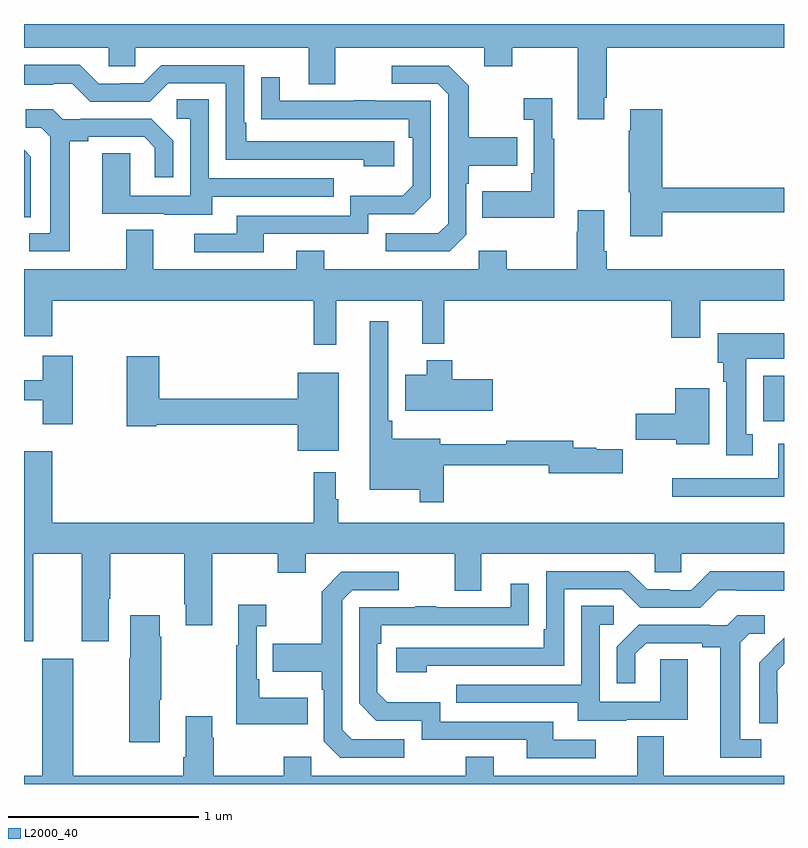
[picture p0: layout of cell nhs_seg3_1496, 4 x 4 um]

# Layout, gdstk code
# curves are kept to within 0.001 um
import gdstk
lib = gdstk.Library(unit=1e-6, precision=1e-09)
def R(c, l, rs):  # rectangles x0, y0, x1, y1
    for r in rs: c.add(gdstk.rectangle(r[:2], r[2:], *l))
def P(c, l, *ps):  # polygons
    for p in ps: c.add(gdstk.Polygon(p, *l))
L2000_40 = (2000, 40)

nhs_seg3_1496 = lib.new_cell('nhs_seg3_1496')
R(nhs_seg3_1496, L2000_40, [(192.89,672.308,193,672.55)])
P(nhs_seg3_1496, L2000_40, [(192.055,674.011),(192.068,674.011),(192.068,674.276),(193,674.276),(193,674.4),(189,674.4),(189,674.276),(189.447,674.276),(189.447,674.178),(189.585,674.178),(189.585,674.276),(190.499,674.276),(190.499,674.082),(190.639,674.082),(190.639,674.276),(191.423,674.276),(191.423,674.177),(191.571,674.177),(191.571,674.276),(191.915,674.276),(191.915,673.899),(192.055,673.899)],
  [(190.948,673.782),(190.171,673.782),(190.171,673.879),(190.158,673.879),(190.158,674.184),(189.723,674.184),(189.627,674.088),(189.509,674.088),(189.509,674.085),(189.393,674.085),(189.293,674.185),(189,674.185),(189,674.081),(189.155,674.081),(189.155,674.085),(189.255,674.085),(189.348,673.992),(189.663,673.992),(189.759,674.088),(190.062,674.088),(190.062,673.686),(190.787,673.686),(190.787,673.652),(190.948,673.652)],
  [(191.328,673.29),(191.328,673.559),(191.341,673.559),(191.341,673.655),(191.597,673.655),(191.597,673.803),(191.341,673.803),(191.341,674.075),(191.235,674.181),(190.935,674.181),(190.935,674.085),(191.178,674.085),(191.232,674.031),(191.232,673.35),(191.181,673.299),(190.905,673.299),(190.905,673.203),(191.241,673.203)],
  [(190.261,673.296),(190.812,673.296),(190.812,673.398),(191.052,673.398),(191.142,673.488),(191.142,673.995),(190.847,673.995),(190.847,674),(190.735,674),(190.735,673.995),(190.345,673.995),(190.345,674.119),(190.249,674.119),(190.249,673.9),(191.026,673.899),(191.026,673.802),(191.046,673.802),(191.046,673.548),(190.993,673.495),(190.716,673.495),(190.716,673.392),(190.121,673.392),(190.121,673.296),(189.897,673.296),(189.897,673.2),(190.261,673.2)],
  [(191.791,673.795),(191.779,673.795),(191.779,674.008),(191.631,674.008),(191.631,673.895),(191.682,673.895),(191.682,673.615),(191.67,673.615),(191.67,673.519),(191.413,673.519),(191.413,673.379),(191.791,673.379)],
  [(189.991,673.491),(190.631,673.491),(190.631,673.587),(189.972,673.587),(189.972,674.003),(189.804,674.003),(189.804,673.902),(189.876,673.902),(189.876,673.497),(189.558,673.497),(189.558,673.721),(189.413,673.721),(189.413,673.401),(189.737,673.401),(189.737,673.397),(189.991,673.397)],
  [(189.241,673.784),(189.337,673.784),(189.337,673.806),(189.632,673.806),(189.689,673.749),(189.689,673.593),(189.786,673.593),(189.786,673.786),(189.67,673.902),(189.298,673.902),(189.298,673.899),(189.204,673.899),(189.152,673.951),(189.009,673.951),(189.009,673.854),(189.09,673.854),(189.137,673.807),(189.137,673.299),(189.027,673.299),(189.027,673.203),(189.241,673.203)],
  [(192.359,673.41),(193,673.41),(193,673.538),(192.359,673.538),(192.359,673.951),(192.191,673.951),(192.191,673.838),(192.184,673.838),(192.184,673.515),(192.191,673.515),(192.191,673.284),(192.359,673.284)],
  [(189.036,673.702),(189,673.738),(189,673.384),(189.036,673.384)],
  [(190.643,672.944),(191.096,672.944),(191.096,672.716),(191.213,672.716),(191.213,672.944),(192.407,672.944),(192.407,672.75),(192.559,672.75),(192.559,672.944),(193,672.944),(193,673.108),(192.068,673.108),(192.068,673.204),(192.055,673.204),(192.055,673.42),(191.915,673.42),(191.915,673.307),(191.908,673.307),(191.908,673.108),(191.541,673.108),(191.541,673.207),(191.394,673.207),(191.394,673.108),(190.581,673.108),(190.581,673.207),(190.433,673.207),(190.433,673.108),(189.679,673.108),(189.679,673.316),(189.539,673.316),(189.539,673.108),(189,673.108),(189,672.756),(189.148,672.756),(189.148,672.944),(190.525,672.944),(190.525,672.711),(190.643,672.711)],
  [(191.21,672.078),(191.762,672.078),(191.762,672.035),(192.151,672.035),(192.151,672.162),(192.012,672.162),(192.012,672.17),(191.89,672.17),(191.89,672.206),(191.537,672.206),(191.537,672.187),(191.191,672.187),(191.191,672.217),(190.937,672.217),(190.937,672.313),(190.917,672.313),(190.917,672.835),(190.82,672.835),(190.82,671.948),(191.082,671.948),(191.082,671.883),(191.21,671.883)],
  [(192.835,672.242),(192.802,672.242),(192.802,672.638),(193,672.638),(193,672.772),(192.65,672.772),(192.65,672.618),(192.68,672.618),(192.68,672.518),(192.695,672.518),(192.695,672.129),(192.835,672.129)],
  [(189.256,672.655),(189.098,672.655),(189.098,672.525),(189,672.525),(189,672.421),(189.098,672.421),(189.098,672.294),(189.256,672.294)],
  [(190.657,672.565),(190.442,672.565),(190.442,672.428),(189.713,672.428),(189.713,672.652),(189.542,672.652),(189.542,672.284),(189.696,672.284),(189.696,672.292),(190.442,672.292),(190.442,672.155),(190.657,672.155)],
  [(191.467,672.531),(191.255,672.531),(191.255,672.631),(191.12,672.631),(191.12,672.553),(191.006,672.553),(191.006,672.365),(191.467,672.365)],
  [(192.607,672.484),(192.428,672.484),(192.428,672.35),(192.219,672.35),(192.219,672.213),(192.432,672.213),(192.432,672.188),(192.607,672.188)],
  [(193,672.19),(192.971,672.19),(192.971,672.009),(192.411,672.009),(192.411,671.912),(193,671.912)],
  [(189.148,672.151),(189,672.151),(189,671.151),(189.049,671.151),(189.049,671.612),(189.305,671.612),(189.305,671.151),(189.445,671.151),(189.445,671.374),(189.453,671.374),(189.453,671.612),(189.844,671.612),(189.844,671.347),(189.851,671.347),(189.851,671.235),(189.991,671.235),(189.991,671.612),(190.336,671.612),(190.336,671.513),(190.483,671.513),(190.483,671.612),(191.267,671.612),(191.267,671.418),(191.407,671.418),(191.407,671.612),(192.321,671.612),(192.321,671.514),(192.459,671.514),(192.459,671.612),(193,671.612),(193,671.776),(190.654,671.776),(190.654,671.9),(190.642,671.9),(190.642,672.04),(190.525,672.04),(190.525,671.776),(189.148,671.776)],
  [(191.12,671.022),(191.844,671.022),(191.844,671.424),(192.147,671.424),(192.243,671.328),(192.558,671.328),(192.651,671.421),(192.751,671.421),(192.751,671.417),(193,671.417),(193,671.521),(192.613,671.521),(192.513,671.421),(192.398,671.421),(192.398,671.424),(192.279,671.424),(192.183,671.52),(191.748,671.52),(191.748,671.215),(191.735,671.215),(191.735,671.118),(190.959,671.118),(190.959,670.988),(191.12,670.988)],
  [(191.002,670.635),(190.725,670.635),(190.674,670.686),(190.674,671.367),(190.728,671.421),(190.972,671.421),(190.972,671.517),(190.671,671.517),(190.566,671.411),(190.566,671.139),(190.309,671.139),(190.309,670.991),(190.566,670.991),(190.566,670.895),(190.578,670.895),(190.578,670.626),(190.665,670.539),(191.002,670.539)],
  [(192.01,670.632),(191.785,670.632),(191.785,670.728),(191.19,670.728),(191.19,670.831),(190.913,670.831),(190.86,670.884),(190.86,671.138),(190.88,671.138),(190.88,671.235),(191.657,671.236),(191.657,671.455),(191.561,671.455),(191.561,671.331),(191.171,671.331),(191.171,671.336),(191.059,671.336),(191.059,671.331),(190.764,671.331),(190.764,670.824),(190.854,670.734),(191.094,670.734),(191.094,670.632),(191.645,670.632),(191.645,670.536),(192.01,670.536)],
  [(190.493,670.855),(190.237,670.855),(190.237,670.951),(190.224,670.951),(190.224,671.231),(190.276,671.231),(190.276,671.344),(190.127,671.344),(190.127,671.131),(190.116,671.131),(190.116,670.715),(190.493,670.715)],
  [(192.169,670.737),(192.493,670.737),(192.493,671.057),(192.348,671.057),(192.348,670.833),(192.03,670.833),(192.03,671.238),(192.103,671.238),(192.103,671.339),(191.934,671.339),(191.934,670.923),(191.275,670.923),(191.275,670.827),(191.915,670.827),(191.915,670.733),(192.169,670.733)],
  [(192.88,670.635),(192.769,670.635),(192.769,671.143),(192.816,671.19),(192.898,671.19),(192.898,671.287),(192.754,671.287),(192.702,671.235),(192.608,671.235),(192.608,671.238),(192.236,671.238),(192.12,671.122),(192.12,670.929),(192.217,670.929),(192.217,671.085),(192.274,671.142),(192.569,671.142),(192.569,671.12),(192.665,671.12),(192.665,670.539),(192.88,670.539)],
  [(189.715,670.843),(189.723,670.843),(189.723,671.174),(189.715,671.174),(189.715,671.287),(189.56,671.287),(189.56,671.063),(189.553,671.063),(189.553,670.62),(189.715,670.62)],
  [(192.966,670.874),(192.965,670.874),(192.965,670.997),(193,671.032),(193,671.17),(192.942,671.112),(192.943,671.111),(192.87,671.038),(192.87,670.72),(192.966,670.72)],
  [(193,670.444),(192.367,670.444),(192.367,670.652),(192.227,670.652),(192.227,670.444),(191.473,670.444),(191.473,670.543),(191.326,670.543),(191.326,670.444),(190.512,670.444),(190.512,670.543),(190.366,670.543),(190.366,670.444),(189.999,670.444),(189.999,670.643),(189.991,670.643),(189.991,670.756),(189.851,670.756),(189.851,670.54),(189.839,670.54),(189.839,670.444),(189.259,670.444),(189.259,671.059),(189.095,671.059),(189.095,670.444),(189,670.444),(189,670.4),(193,670.4)])

lib.write_gds('nhs_seg3_1496.gds')
